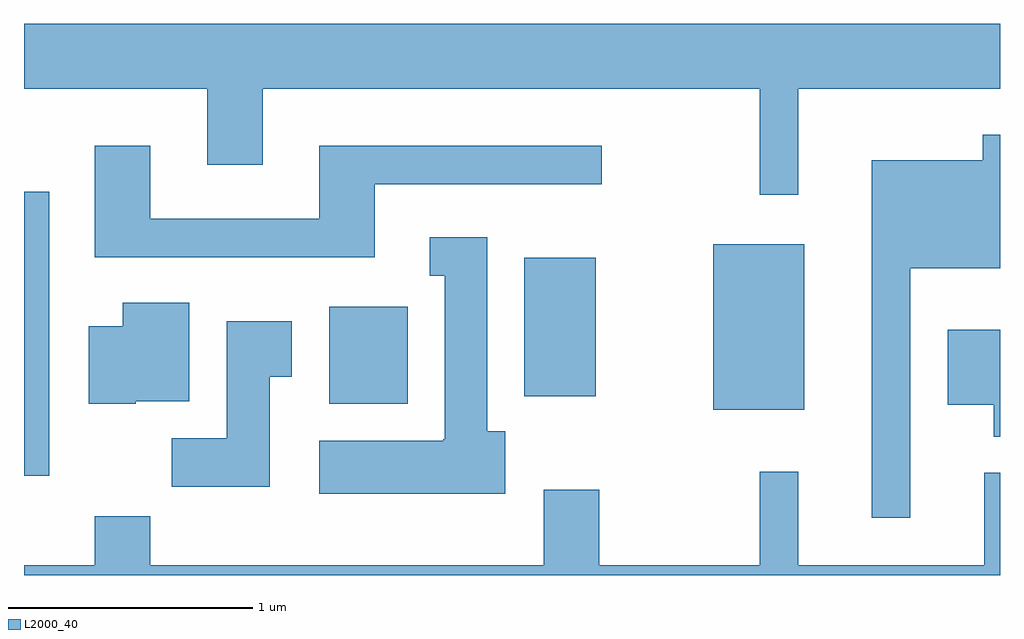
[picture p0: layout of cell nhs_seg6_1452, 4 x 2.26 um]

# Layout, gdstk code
import gdstk
lib = gdstk.Library(unit=1e-6, precision=1e-09)
def R(c, l, rs):  # rectangles x0, y0, x1, y1
    for r in rs: c.add(gdstk.rectangle(r[:2], r[2:], *l))
def P(c, l, *ps):  # polygons
    for p in ps: c.add(gdstk.Polygon(p, *l))
L2000_40 = (2000, 40)

nhs_seg6_1452 = lib.new_cell('nhs_seg6_1452')
R(nhs_seg6_1452, L2000_40, [(227.611,1650.571,227.714,1651.734), (230.436,1650.841,230.809,1651.519), (228.861,1650.866,229.184,1651.264), (229.661,1650.896,229.954,1651.464)])
P(nhs_seg6_1452, L2000_40, [(230.784,1652.156),(231.611,1652.156),(231.611,1652.424),(227.611,1652.424),(227.611,1652.156),(228.361,1652.156),(228.361,1651.846),(228.589,1651.846),(228.589,1652.156),(230.626,1652.156),(230.626,1651.723),(230.784,1651.723)],
  [(231.244,1651.421),(231.611,1651.421),(231.611,1651.968),(231.541,1651.968),(231.541,1651.864),(231.086,1651.864),(231.086,1650.398),(231.244,1650.398)],
  [(229.049,1651.766),(229.978,1651.766),(229.978,1651.924),(228.821,1651.924),(228.821,1651.624),(228.129,1651.624),(228.129,1651.924),(227.901,1651.924),(227.901,1651.466),(229.049,1651.466)],
  [(229.584,1650.754),(229.509,1650.754),(229.509,1651.549),(229.273,1651.549),(229.273,1651.391),(229.336,1651.391),(229.336,1650.72),(229.33,1650.72),(229.33,1650.714),(228.821,1650.714),(228.821,1650.496),(229.584,1650.496)],
  [(228.07,1650.876),(228.289,1650.876),(228.289,1651.279),(228.016,1651.279),(228.016,1651.184),(227.876,1651.184),(227.876,1650.866),(228.07,1650.866)],
  [(228.619,1650.976),(228.709,1650.976),(228.709,1651.204),(228.441,1651.204),(228.441,1650.724),(228.216,1650.724),(228.216,1650.526),(228.619,1650.526)],
  [(231.611,1651.169),(231.396,1651.169),(231.396,1650.861),(231.586,1650.861),(231.586,1650.731),(231.611,1650.731)],
  [(231.611,1650.583),(231.546,1650.583),(231.546,1650.204),(230.784,1650.204),(230.784,1650.588),(230.626,1650.588),(230.626,1650.204),(229.969,1650.204),(229.969,1650.514),(229.741,1650.514),(229.741,1650.204),(228.129,1650.204),(228.129,1650.404),(227.901,1650.404),(227.901,1650.204),(227.611,1650.204),(227.611,1650.162),(231.611,1650.162)])

lib.write_gds('nhs_seg6_1452.gds')
